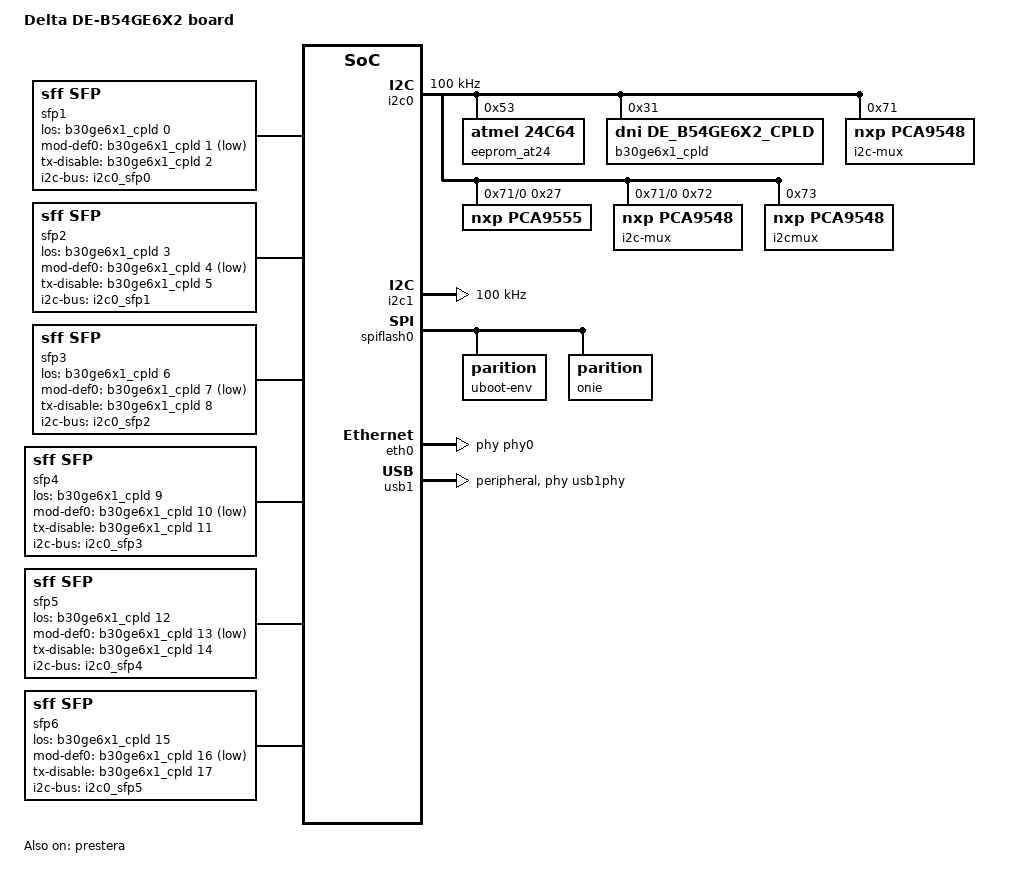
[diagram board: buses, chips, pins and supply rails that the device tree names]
// SPDX-License-Identifier: (GPL-2.0+ OR MIT)
/*
 * Device Tree For AC5_db.
 *
 * Copyright (C) 2021 Marvell
 *
 */
// SPDX-License-Identifier: (GPL-2.0+ OR MIT)
/*
 * Device Tree file for Marvell Alleycat 5 development board
 * This board file supports the B configuration of the board
 */
#include "delta-ac5-4gb.dtsi"

/ {
	model = "Delta DE-B54GE6X2 board";
	sfp1: sfp-1 {
		compatible = "sff,sfp";
		i2c-bus = <&i2c0_sfp0>;
		maximum-power-milliwatt = <2000>;
		los-gpio = <&b30ge6x1_cpld 0 GPIO_ACTIVE_HIGH>;
		mod-def0-gpio = <&b30ge6x1_cpld 1 GPIO_ACTIVE_LOW>;
		tx-disable-gpio = <&b30ge6x1_cpld 2 GPIO_ACTIVE_HIGH>;
	};

	sfp2: sfp-2 {
		compatible = "sff,sfp";
		i2c-bus = <&i2c0_sfp1>;
		maximum-power-milliwatt = <2000>;
		los-gpio = <&b30ge6x1_cpld 3 GPIO_ACTIVE_HIGH>;
		mod-def0-gpio = <&b30ge6x1_cpld 4 GPIO_ACTIVE_LOW>;
		tx-disable-gpio = <&b30ge6x1_cpld 5 GPIO_ACTIVE_HIGH>;
	};

	sfp3: sfp-3 {
		compatible = "sff,sfp";
		i2c-bus = <&i2c0_sfp2>;
		maximum-power-milliwatt = <2000>;
		los-gpio = <&b30ge6x1_cpld 6 GPIO_ACTIVE_HIGH>;
		mod-def0-gpio = <&b30ge6x1_cpld 7 GPIO_ACTIVE_LOW>;
		tx-disable-gpio = <&b30ge6x1_cpld 8 GPIO_ACTIVE_HIGH>;
	};

	sfp4: sfp-4 {
		compatible = "sff,sfp";
		i2c-bus = <&i2c0_sfp3>;
		maximum-power-milliwatt = <2000>;
		los-gpio = <&b30ge6x1_cpld 9 GPIO_ACTIVE_HIGH>;
		mod-def0-gpio = <&b30ge6x1_cpld 10 GPIO_ACTIVE_LOW>;
		tx-disable-gpio = <&b30ge6x1_cpld 11 GPIO_ACTIVE_HIGH>;
	};

	sfp5: sfp-5 {
		compatible = "sff,sfp";
		i2c-bus = <&i2c0_sfp4>;
		maximum-power-milliwatt = <2000>;
		los-gpio = <&b30ge6x1_cpld 12 GPIO_ACTIVE_HIGH>;
		mod-def0-gpio = <&b30ge6x1_cpld 13 GPIO_ACTIVE_LOW>;
		tx-disable-gpio = <&b30ge6x1_cpld 14 GPIO_ACTIVE_HIGH>;
	};

	sfp6: sfp-6 {
		compatible = "sff,sfp";
		i2c-bus = <&i2c0_sfp5>;
		maximum-power-milliwatt = <2000>;
		los-gpio = <&b30ge6x1_cpld 15 GPIO_ACTIVE_HIGH>;
		mod-def0-gpio = <&b30ge6x1_cpld 16 GPIO_ACTIVE_LOW>;
		tx-disable-gpio = <&b30ge6x1_cpld 17 GPIO_ACTIVE_HIGH>;
	};
};

&i2c0 {
	status = "okay";
	clock-frequency = <100000>;

	eeprom_at24: at24@53 {
		compatible = "atmel,24c64";
		reg = <0x53>;
	};

	b30ge6x1_cpld: b30ge6x1-cpld@31 {
		compatible = "dni,de_b54ge6x2_cpld";
		#address-cells = <1>;
		#size-cells = <0>;
		gpio-controller;
		#gpio-cells = <2>;
		reg = <0x31>;  /* CPLD/MUX I2C address */

		gpio-map {
			/* sfp1 */
			sfp01_gpio00_loss {
				reg-map = <0x17 (1 << 0)>;
				gpio-num = <0>;
			};
			sfp01_gpio01_pres {
				reg-map = <0x13 (1 << 0)>;
				gpio-num = <1>;
			};
			sfp01_gpio02_tx_dis {
				reg-map = <0x14 (1 << 0)>;
				gpio-num = <2>;
			};
			/* sfp2 */
			sfp02_gpio00_sfp_loss {
				reg-map = <0x17 (1 << 1)>;
				gpio-num = <3>;
			};
			sfp02_gpio01_sfp_pres {
				reg-map = <0x13 (1 << 1)>;
				gpio-num = <4>;
			};
			sfp02_gpio02_tx_dis {
				reg-map = <0x14 (1 << 1)>;
				gpio-num = <5>;
			};
			/* sfp3 */
			sfp03_gpio00_loss {
				reg-map = <0x17 (1 << 2)>;
				gpio-num = <6>;
			};
			sfp03_gpio01_pres {
				reg-map = <0x13 (1 << 2)>;
				gpio-num = <7>;
			};
			sfp03_gpio02_tx_dis {
				reg-map = <0x14 (1 << 2)>;
				gpio-num = <8>;
			};
			/* sfp4 */
			sfp04_gpio00_loss {
				reg-map = <0x17 (1 << 3)>;
				gpio-num = <9>;
			};
			sfp04_gpio01_sfp_pres {
				reg-map = <0x13 (1 << 3)>;
				gpio-num = <10>;
			};
			sfp04_gpio02_tx_dis {
				reg-map = <0x14 (1 << 3)>;
				gpio-num = <11>;
			};
			/* sfp5 */
			sfp05_gpio00_loss {
				reg-map = <0x17 (1 << 4)>;
				gpio-num = <12>;
			};
			sfp05_gpio01_pres {
				reg-map = <0x13 (1 << 4)>;
				gpio-num = <13>;
			};
			sfp05_gpio02_tx_dis {
				reg-map = <0x14 (1 << 4)>;
				gpio-num = <14>;
			};
			/* sfp6 */
			sfp06_gpio00_sfp_loss {
				reg-map = <0x17 (1 << 5)>;
				gpio-num = <15>;
			};
			sfp06_gpio01_sfp_pres {
				reg-map = <0x13 (1 << 5)>;
				gpio-num = <16>;
			};
			sfp06_gpio02_tx_dis {
				reg-map = <0x14 (1 << 5)>;
				gpio-num = <17>;
			};
		};
	};

	i2c-mux@71 {
		compatible = "nxp,pca9548";
		reg = <0x71>;
		#address-cells = <1>;
		#size-cells = <0>;

		i2c@0 {
			#address-cells = <1>;
			#size-cells = <0>;
			reg = <0>;

			pca9555: pca9555@27 {
				compatible = "nxp,pca9555";
				gpio-controller;
				#gpio-cells = <2>;
				reg = <0x27>;
			};

			i2c-mux@72 {
				compatible = "nxp,pca9548";
				reg = <0x72>;
				#address-cells = <1>;
				#size-cells = <0>;

				i2c@4 {
					#address-cells = <1>;
					#size-cells = <0>;
					reg = <4>;
				};
				i2c@5 {
					#address-cells = <1>;
					#size-cells = <0>;
					reg = <5>;
				};
				i2c@6 {
					#address-cells = <1>;
					#size-cells = <0>;
					reg = <6>;
				};
			};
		};
		i2c@1 {
			#address-cells = <1>;
			#size-cells = <0>;
			reg = <1>;
		};
		i2c@2 {
			#address-cells = <1>;
			#size-cells = <0>;
			reg = <2>;
		};
		i2c@3 {
			#address-cells = <1>;
			#size-cells = <0>;
			reg = <3>;
		};
	};

	i2cmux@73 {
		compatible = "nxp,pca9548";
		reg = <0x73>;
		#address-cells = <1>;
		#size-cells = <0>;
		i2c-mux-idle-disconnect;

		i2c0_sfp0: i2c@0 {
			reg = <0>;
			#address-cells = <1>;
			#size-cells = <0>;
                };
		i2c0_sfp1: i2c@1 {
			reg = <1>;
			#address-cells = <1>;
			#size-cells = <0>;
		};
		i2c0_sfp2: i2c@2 {
			reg = <2>;
			#address-cells = <1>;
			#size-cells = <0>;
		};
		i2c0_sfp3: i2c@3 {
			reg = <3>;
			#address-cells = <1>;
			#size-cells = <0>;
		};
		i2c0_sfp4: i2c@4 {
			reg = <4>;
			#address-cells = <1>;
			#size-cells = <0>;
		};
		i2c0_sfp5: i2c@5 {
			reg = <5>;
			#address-cells = <1>;
			#size-cells = <0>;
		};
		i2c0_sfp6: i2c@6 {
			reg = <6>;
			#address-cells = <1>;
			#size-cells = <0>;
		};
		i2c0_sfp7: i2c@7 {
			reg = <7>;
			#address-cells = <1>;
			#size-cells = <0>;
		};
	};
};

&i2c1 {
	status = "okay";
	clock-frequency = <100000>;

};

&spiflash0 {
	partition@0 {
		label = "U-Boot";
		reg = <0x0 0x200000>;
	};

	parition@1 {
		label = "uboot-env";
		reg = <0x200000 0x10000>;
		env_size = <0x10000>;
	};

	parition@2 {
		label = "onie";
		reg = <0x210000 0xDF0000>;
	};
};

&eth0 {
	status = "okay";
	phy = <&phy0>;
};

&usb1 {
	compatible = "chipidea,usb2";
	phys = <&usb1phy>;
	phy-names = "usb-phy";
	dr_mode = "peripheral";
};

&prestera {
	compatible = "marvell,prestera";
	status = "okay";
	reg = <0x0 0x7F900000 0x0 0x40000>;
	ports {
		port49 {
			prestera,port-num = <49>;
			sfp = <&sfp1>;
		};
		port50 {
			prestera,port-num = <50>;
			sfp = <&sfp2>;
		};

		port51 {
			prestera,port-num = <51>;
			sfp = <&sfp3>;
		};

		port52 {
			prestera,port-num = <52>;
			sfp = <&sfp4>;
		};

		port53 {
			prestera,port-num = <53>;
			sfp = <&sfp5>;
		};

		port54 {
			prestera,port-num = <54>;
			sfp = <&sfp6>;
		};

	};
};

&sfp1 {
	status = "okay";
};

&sfp2 {
	status = "okay";
};

&sfp3 {
	status = "okay";
};

&sfp4 {
	status = "okay";
};

&sfp5 {
	status = "okay";
};

&sfp6 {
	status = "okay";
};


